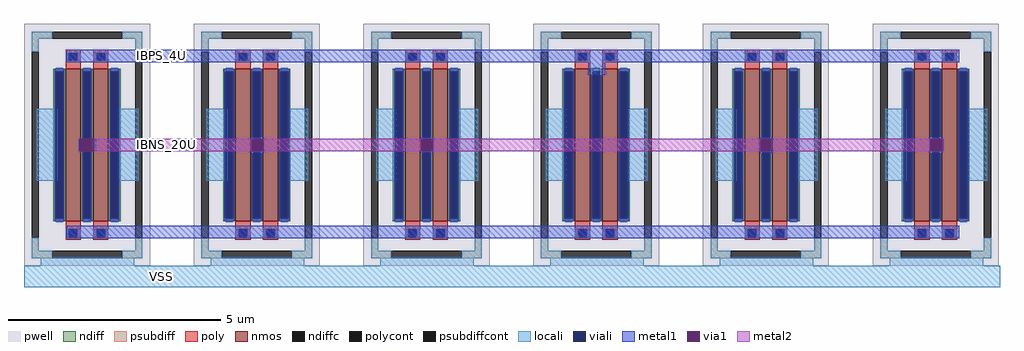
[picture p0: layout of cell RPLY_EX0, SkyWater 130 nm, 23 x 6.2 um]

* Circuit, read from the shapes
.subckt RPLY_EX0 VSS IBNS_20U IBPS_4U
XM1 IBNS_20U IBPS_4U VSS VSS sky130_fd_pr__nfet_01v8 w=3.6 l=0.36 m=10
XM2 IBPS_4U IBPS_4U VSS VSS sky130_fd_pr__nfet_01v8 w=3.6 l=0.36 m=2
.ends

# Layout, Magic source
magic
tech sky130B
magscale 1 2
<< locali >>
rect 860 400 960 740
rect 1240 400 1340 740
rect 1660 400 1760 740
rect 2040 400 2140 740
rect 2460 400 2560 740
rect 2840 400 2940 740
rect 3260 400 3360 740
rect 3640 400 3740 740
rect 4060 400 4160 740
rect 4440 400 4540 740
rect 4860 400 4960 740
rect 5240 400 5340 740
rect 880 0 1320 40
rect 1680 0 2120 40
rect 2480 0 2920 40
rect 3280 0 3720 40
rect 4080 0 4520 40
rect 4880 0 5320 40
rect 800 -100 5400 0
<< metal1 >>
rect 1001 960 5209 1019
rect 3460 900 3540 960
rect 1870 600 1930 606
rect 1060 540 1070 600
rect 1130 540 1140 600
rect 1870 534 1930 540
rect 2670 600 2730 606
rect 2670 534 2730 540
rect 4270 600 4330 606
rect 4270 534 4330 540
rect 5070 600 5130 606
rect 5070 534 5130 540
rect 1001 131 5209 190
<< via1 >>
rect 1070 540 1130 600
rect 1870 540 1930 600
rect 2670 540 2730 600
rect 4270 540 4330 600
rect 5070 540 5130 600
<< metal2 >>
rect 1130 540 1870 600
rect 1930 540 2670 600
rect 2730 540 4270 600
rect 4330 540 5070 600
rect 5130 540 5136 600
use sky130_fd_pr__nfet_01v8_5CE34N  sky130_fd_pr__nfet_01v8_5CE34N_0
transform 1 0 5097 0 1 570
box -297 -570 297 570
use sky130_fd_pr__nfet_01v8_5CE34N  sky130_fd_pr__nfet_01v8_5CE34N_1
transform 1 0 1097 0 1 570
box -297 -570 297 570
use sky130_fd_pr__nfet_01v8_5CE34N  sky130_fd_pr__nfet_01v8_5CE34N_2
transform 1 0 1897 0 1 570
box -297 -570 297 570
use sky130_fd_pr__nfet_01v8_5CE34N  sky130_fd_pr__nfet_01v8_5CE34N_3
transform 1 0 2697 0 1 570
box -297 -570 297 570
use sky130_fd_pr__nfet_01v8_5CE34N  sky130_fd_pr__nfet_01v8_5CE34N_4
transform 1 0 3497 0 1 570
box -297 -570 297 570
use sky130_fd_pr__nfet_01v8_5CE34N  sky130_fd_pr__nfet_01v8_5CE34N_5
transform 1 0 4297 0 1 570
box -297 -570 297 570
<< labels >>
flabel metal1 1420 960 1480 1020 0 FreeSans 480 0 0 0 IBPS_4U
port 5 nsew
flabel locali 1420 -80 1480 -20 0 FreeSans 480 0 0 0 VSS
port 2 nsew
flabel metal2 1440 540 1500 600 0 FreeSans 480 0 0 0 IBNS_20U
port 4 nsew
<< end >>

# cell sky130_fd_pr__nfet_01v8_5CE34N: kit device sky130_fd_pr__nfet_01v8, w 3.6 l 0.36 m 1 nf 2 diffcov 100 polycov 100 guard 1 glc 1 grc 1 gtc 1 gbc 1 tbcov 100 rlcov 100 topc 1 botc 1 poverlap 0 doverlap 1 lmin 0.15 wmin 0.42 compatible {sky130_fd_pr__nfet_01v8 sky130_fd_pr__nfet_01v8_lvt sky130_fd_bs_flash__special_sonosfet_star sky130_fd_pr__nfet_g5v0d10v5 sky130_fd_pr__nfet_05v0_nvt sky130_fd_pr__nfet_03v3_nvt} full_metal 1 viasrc 100 viadrn 100 viagate 100 viagb 0 viagr 0 viagl 0 viagt 0
